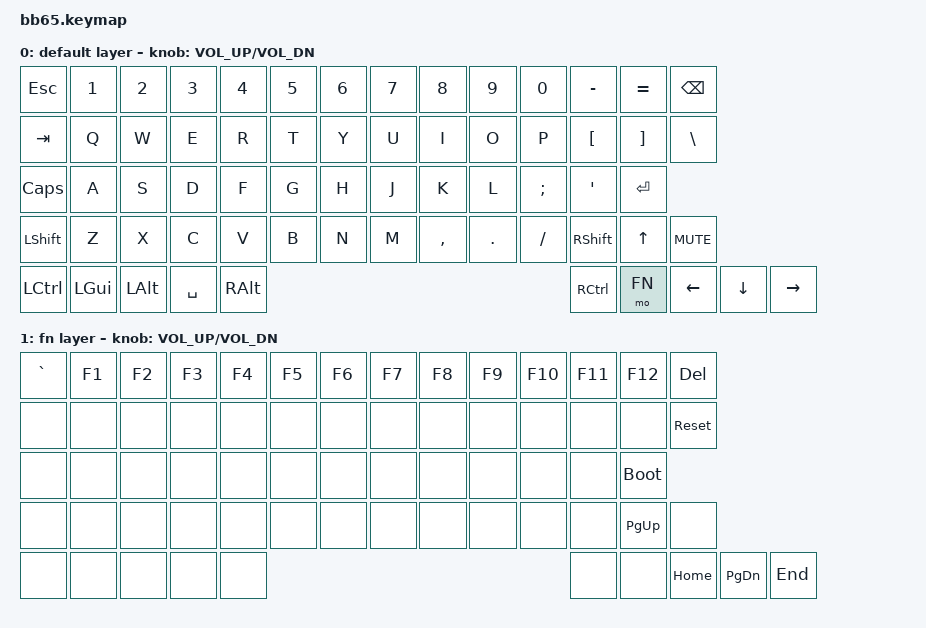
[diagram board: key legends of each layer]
/*
 * Copyright (c) 2023 The ZMK Contributors
 *
 * SPDX-License-Identifier: MIT
 */

#include <behaviors.dtsi>
#include <dt-bindings/zmk/keys.h>
#include <dt-bindings/zmk/bt.h>
#include <dt-bindings/zmk/rgb.h>
#include <dt-bindings/zmk/ext_power.h>
#include <dt-bindings/zmk/outputs.h>

#define DEFAULT  0
#define FN       1

// #define TIMEOUT 300

&encoder_1 {
    status = "okay";
};

/ {
    /* combos {
        compatible = "zmk,combos";
        combo_btclr {
            timeout-ms = <TIMEOUT>;
            key-positions = <1 6>;
            bindings = <&bt BT_CLR>;
        };
        combo_reset {
            timeout-ms = <TIMEOUT>;
            key-positions = <1 3>;
            bindings = <&sys_reset>;
        };
        combo_bootloader {
            timeout-ms = <TIMEOUT>;
            key-positions = <1 15>;
            bindings = <&bootloader>;
        };
        combo_lock {
            timeout-ms = <TIMEOUT>;
            key-positions = <1 12>;
            bindings = <&tog LOCK>;
        };
        combo_bt_nxt {
            timeout-ms = <TIMEOUT>;
            key-positions = <1 4>;
            bindings = <&bt BT_NXT>;
        }; */

    keymap0: keymap {
        compatible = "zmk,keymap";

        default_layer {
            label = "default layer";
            bindings = <
                &kp ESC       &kp N1   &kp N2 &kp N3 &kp N4   &kp N5 &kp N6 &kp N7 &kp N8    &kp N9   &kp N0    &kp MINUS &kp EQUAL &kp BSPC
                &kp TAB       &kp Q    &kp W  &kp E  &kp R    &kp T  &kp Y  &kp U  &kp I     &kp O    &kp P     &kp LBKT  &kp RBKT  &kp BSLH
                &kp CAPS      &kp A    &kp S  &kp D  &kp F    &kp G  &kp H  &kp J  &kp K     &kp L    &kp SEMI  &kp APOS  &kp ENTER
                &kp LSHFT     &kp Z    &kp X  &kp C  &kp V    &kp B  &kp N  &kp M  &kp COMMA &kp DOT  &kp FSLH  &kp RSHFT              &kp UP    &kp K_MUTE
                &kp LCTRL &kp LGUI &kp LALT                         &kp SPACE                      &kp RALT &kp RCTRL &mo FN &kp LEFT  &kp DOWN  &kp RIGHT
            >;
            sensor-bindings = <&inc_dec_kp C_VOL_UP C_VOL_DN>;
        };

        fn_layer {
            label = "fn layer";
        // --------------------------------------------------------------------------------------------------
        // |GRAVE| F1  | F2  | F3  | F4  | F5  | F6  | F7  | F8  | F9  | F10 | F11 | F12 |  DEL  |
        // | TAB  |  Q  |  W  |  E  | R | T |  Y  |  U  |  I  |  O  |  P  | [ |  ]  |  RESET      |
        // | CAPS  |  A  |  S  |  D  | F | G |  H  |  J  |  K  |  L  |  ;  |  '  |    BOOT        |
        // |  SHIFT   | Z | X | C | V | B |  N  |  M  |  ,  |  .  |  /  |    SHIFT      | PGUP | MUTE  |
        // | CTL | WIN |  ALT  |            SPACE               | ALT |  APP  | FN | HOME | PGDN | END |
        // --------------------------------------------------------------------------------------------------
      bindings = <
        &kp GRAVE    &kp F1    &kp F2    &kp F3    &kp F4    &kp F5    &kp F6    &kp F7    &kp F8   &kp F9   &kp F10   &kp F11   &kp F12   &kp DEL
        &none		 &none	   &none	 &none	   &none    &none    &none    &none    &none   &none   &none    &none  &none    &sys_reset
        &none       &none    &none    &none    &none    &none    &none    &none    &none   &none   &none    &none    &bootloader
        &none       &none    &none    &none    &none    &none    &none    &none    &none   &none   &none    &none    &kp PG_UP &none
        &none &none  &none              &none                      &none    &none    &none                      &kp HOME  &kp PG_DN &kp END
      >;
      sensor-bindings = <&inc_dec_kp C_VOL_UP C_VOL_DN>;
        };
    };
};
